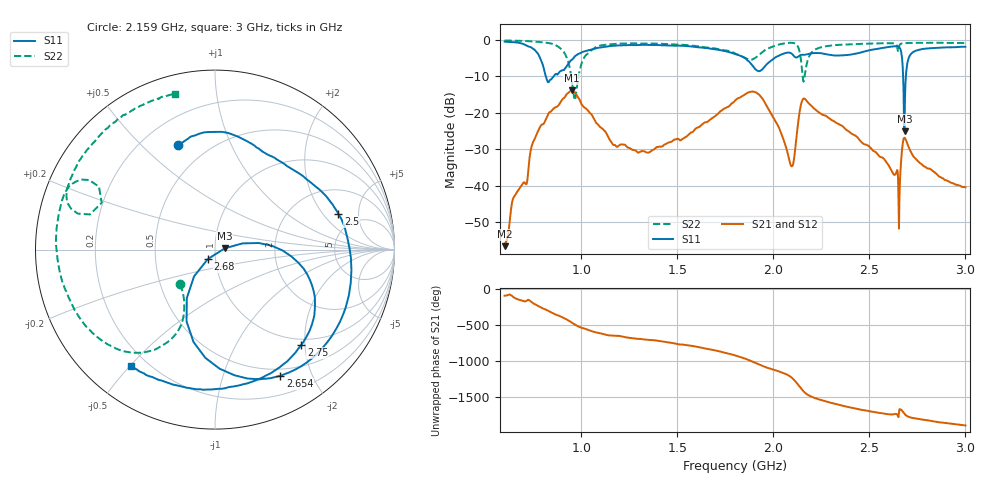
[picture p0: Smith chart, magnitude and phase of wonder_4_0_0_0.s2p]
#  HZ  S  RI  R  50.00
! Rohde & Schwarz ZVB8 2Ports - Version 2.81 - 1145.1010k08 SN: 100113
! Date: 2016-05-12 03:15:47
! Measurements: S11 S21 S12 S22
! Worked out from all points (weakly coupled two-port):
!   1000 points, 600 MHz to 3 GHz, reference 50 ohm
!   highest |S21| = -13.84 dB at 950.8 MHz (marker M1); lowest = -56.5 dB at 602.4 MHz (marker M2)
!   lowest |S11| = -25.0 dB at 2.683 GHz (marker M3), VSWR 1.12, Z = 55.9 + j0.856 ohm
!   |S11| at or under -10 dB: 814.4 MHz to 856.4 MHz (41.96 MHz wide, 5.02 % of centre); 2.676 GHz to 2.69 GHz (14.42 MHz wide, 0.538 % of centre)
!   |S22| runs from -16.5 to -0.2 dB; largest |S21 - S12| = 0.0012
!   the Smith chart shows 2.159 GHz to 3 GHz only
!   S11 on the Smith chart (normalised r, x): 2.159 GHz: 0.34, +0.65; 2.5 GHz: 3.54, +2.89; 2.654 GHz: 0.42, -1.56; 2.68 GHz: 0.92, -0.10; 2.75 GHz: 0.88, -1.93; 3 GHz: 0.14, -0.50
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6e8  -0.8628 0.3717  -0.000134 -0.00155  -7.42e-05 -0.0015  -0.9573 0.1807
6.024024e8  -0.8562 0.3835  -0.00014 -0.00149  -0.000167 -0.00159  -0.9549 0.1918
7.297297e8  -0.1949 0.7754  -0.0226 -0.00807  -0.0223 -0.00834  -0.6543 0.6871
8.402402e8  -0.0283 0.2822  0.084 0.0603  0.0839 0.0603  -0.0775 0.8839
9.507508e8  -0.0932 0.5215  -0.07 -0.1907  -0.0699 -0.1909  0.2572 -0.0752
1.001201e9  0.1024 0.6636  -0.1298 0.00272  -0.1297 0.00269  -0.4536 0.1398
1.138138e9  0.7063 0.3935  0.012 0.0461  0.0122 0.0458  0.1188 0.8477
1.4e9  0.3555 -0.7627  0.034 -0.0025  0.034 -0.00247  0.8787 0.0631
1.618619e9  -0.5478 -0.5551  -0.00492 -0.0652  -0.00485 -0.0653  0.4924 -0.6316
1.801201e9  -0.6285 0.1001  -0.1332 0.0635  -0.1333 0.0638  -0.0188 -0.6424
1.933333e9  -0.3548 0.1254  0.1593 0.0528  0.1595 0.0528  0.0237 -0.6427
2.094294e9  -0.3281 0.5569  -0.0164 -0.00867  -0.0164 -0.00863  -0.6469 -0.6328
2.159159e9  -0.2053 0.5848  0.1549 0.0238  0.1548 0.0239  -0.1946 -0.1934
2.2e9  -0.0973 0.6422  0.0573 -0.1089  0.0573 -0.1091  -0.3618 -0.5649
2.5003e9  0.6867 0.1998  -0.00476 0.0339  -0.00475 0.0339  -0.8833 0.00331
2.601201e9  0.7303 -0.3135  0.0108 0.0155  0.0108 0.0154  -0.8587 0.2489
2.654054e9  0.3635 -0.7029  0.000151 0.00261  5.27e-05 0.00264  -0.7646 0.2005
2.68048e9  -0.0403 -0.053  0.016 0.0423  0.0158 0.0422  -0.8136 0.3671
2.682883e9  0.0555 0.00764  0.0219 0.04  0.0217 0.0397  -0.8114 0.374
2.706907e9  0.542 -0.204  0.0312 0.00991  0.0311 0.00997  -0.785 0.4397
2.75015e9  0.4807 -0.5311  0.022 -0.00294  0.0219 -0.00284  -0.7294 0.5321
3e9  -0.4655 -0.6482  -0.00165 -0.00941  -0.00158 -0.00941  -0.224 0.8689
